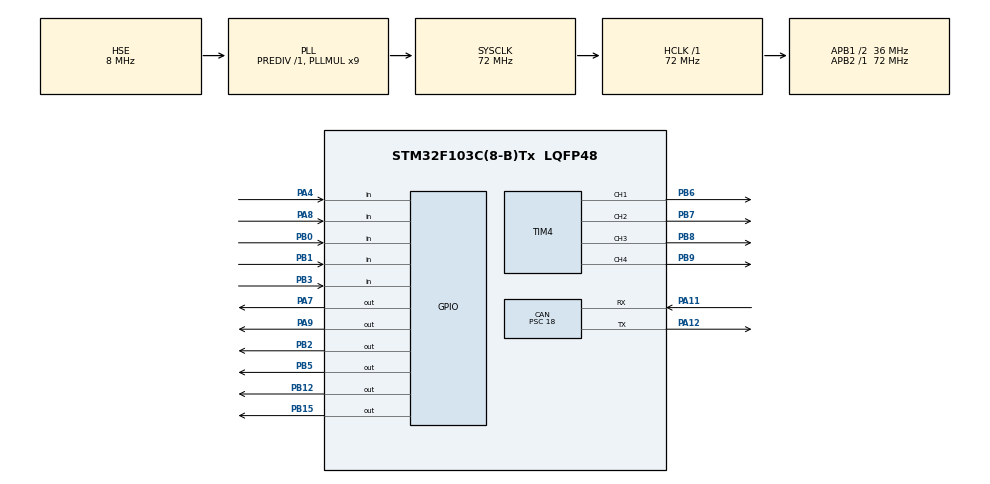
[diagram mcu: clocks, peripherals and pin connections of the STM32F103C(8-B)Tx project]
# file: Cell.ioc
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CAN.ABOM=ENABLE
CAN.AWUM=ENABLE
CAN.BS1=CAN_BS1_13TQ
CAN.BS2=CAN_BS2_2TQ
CAN.CalculateTimeBit=1500
CAN.CalculateTimeQuantum=500.0
CAN.NART=ENABLE
CAN.Prescaler=18
FREERTOS.INCLUDE_vTaskDelayUntil=1
FREERTOS.Tasks01=defaultTask,0,128,StartDefaultTask,Default,NULL
Mcu.Family=STM32F1
Mcu.Name=STM32F103C(8-B)Tx
Mcu.Package=LQFP48
Mcu.UserConstants=PWM_FREQUENCY,10000
NVIC.CAN1_RX1_IRQn=true\:5\:0\:false\:false\:true\:true\:true
NVIC.CAN1_SCE_IRQn=true\:5\:0\:false\:false\:true\:true\:true
NVIC.PriorityGroup=NVIC_PRIORITYGROUP_4
NVIC.TIM2_IRQn=true\:0\:0\:false\:false\:true\:false\:false
NVIC.TimeBase=TIM2_IRQn
NVIC.TimeBaseIP=TIM2
NVIC.USB_HP_CAN1_TX_IRQn=true\:5\:0\:false\:false\:true\:true\:true
NVIC.USB_LP_CAN1_RX0_IRQn=true\:5\:0\:false\:false\:true\:true\:true
PA11.Mode=Master
PA11.Signal=CAN_RX
PA12.Mode=Master
PA12.Signal=CAN_TX
PA13.Mode=Serial_Wire
PA13.Signal=SYS_JTMS-SWDIO
PA14.Mode=Serial_Wire
PA14.Signal=SYS_JTCK-SWCLK
PA4.GPIO_PuPd=GPIO_PULLUP
PA4.Signal=GPIO_Input
PA7.GPIO_PuPd=GPIO_PULLDOWN
PA7.Signal=GPIO_Output
PA8.GPIO_PuPd=GPIO_PULLDOWN
PA8.Signal=GPIO_Input
PA9.GPIO_PuPd=GPIO_PULLDOWN
PA9.Signal=GPIO_Output
PB0.GPIO_PuPd=GPIO_PULLUP
PB0.Signal=GPIO_Input
PB1.GPIO_PuPd=GPIO_PULLUP
PB1.Signal=GPIO_Input
PB12.GPIO_PuPd=GPIO_PULLDOWN
PB12.Signal=GPIO_Output
PB15.GPIO_PuPd=GPIO_PULLDOWN
PB15.Signal=GPIO_Output
PB2.GPIO_PuPd=GPIO_PULLDOWN
PB2.Signal=GPIO_Output
PB3.GPIO_PuPd=GPIO_PULLUP
PB3.Signal=GPIO_Input
PB5.GPIO_PuPd=GPIO_PULLDOWN
PB5.Signal=GPIO_Output
PB6.Signal=S_TIM4_CH1
PB7.Signal=S_TIM4_CH2
PB8.Signal=S_TIM4_CH3
PB9.Signal=S_TIM4_CH4
PD0-OSC_IN.Mode=HSE-External-Oscillator
PD0-OSC_IN.Signal=RCC_OSC_IN
PD1-OSC_OUT.Mode=HSE-External-Oscillator
PD1-OSC_OUT.Signal=RCC_OSC_OUT
ProjectManager.HeapSize=0x200
ProjectManager.StackSize=0x400
ProjectManager.TargetToolchain=EWARM
RCC.ADCPresc=RCC_ADCPCLK2_DIV6
RCC.AHBFreq_Value=72000000
RCC.APB1CLKDivider=RCC_HCLK_DIV2
RCC.APB1Freq_Value=36000000
RCC.APB1TimFreq_Value=72000000
RCC.APB2Freq_Value=72000000
RCC.APB2TimFreq_Value=72000000
RCC.HCLKFreq_Value=72000000
RCC.PLLMUL=RCC_PLL_MUL9
RCC.PLLSourceVirtual=RCC_PLLSOURCE_HSE
RCC.SYSCLKFreq_VALUE=72000000
RCC.SYSCLKSource=RCC_SYSCLKSOURCE_PLLCLK
RCC.USBFreq_Value=72000000
SH.S_TIM4_CH1.0=TIM4_CH1,PWM Generation1 CH1
SH.S_TIM4_CH2.0=TIM4_CH2,PWM Generation2 CH2
SH.S_TIM4_CH3.0=TIM4_CH3,PWM Generation3 CH3
SH.S_TIM4_CH4.0=TIM4_CH4,PWM Generation4 CH4
TIM4.Channel-PWM\ Generation1\ CH1=TIM_CHANNEL_1
TIM4.Channel-PWM\ Generation2\ CH2=TIM_CHANNEL_2
TIM4.Channel-PWM\ Generation3\ CH3=TIM_CHANNEL_3
TIM4.Channel-PWM\ Generation4\ CH4=TIM_CHANNEL_4
TIM4.Period=72000000/PWM_FREQUENCY-1
VP_FREERTOS_VS_ENABLE.Mode=Enabled
VP_SYS_VS_tim2.Mode=TIM2
board=custom

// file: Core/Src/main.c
/**
  ******************************************************************************
  * @file           : main.c
  * @brief          : Main program body
  ******************************************************************************
  * This notice applies to any and all portions of this file
  * that are not between comment pairs USER CODE BEGIN and
  * USER CODE END. Other portions of this file, whether
  * inserted by the user or by software development tools
  * are owned by their respective copyright owners.
  *
  * Copyright (c) 2018 STMicroelectronics International N.V.
  * All rights reserved.
  *
  * Redistribution and use in source and binary forms, with or without
  * modification, are permitted, provided that the following conditions are met:
  *
  * 1. Redistribution of source code must retain the above copyright notice,
  *    this list of conditions and the following disclaimer.
  * 2. Redistributions in binary form must reproduce the above copyright notice,
  *    this list of conditions and the following disclaimer in the documentation
  *    and/or other materials provided with the distribution.
  * 3. Neither the name of STMicroelectronics nor the names of other
  *    contributors to this software may be used to endorse or promote products
  *    derived from this software without specific written permission.
  * 4. This software, including modifications and/or derivative works of this
  *    software, must execute solely and exclusively on microcontroller or
  *    microprocessor devices manufactured by or for STMicroelectronics.
  * 5. Redistribution and use of this software other than as permitted under
  *    this license is void and will automatically terminate your rights under
  *    this license.
  *
  * THIS SOFTWARE IS PROVIDED BY STMICROELECTRONICS AND CONTRIBUTORS "AS IS"
  * AND ANY EXPRESS, IMPLIED OR STATUTORY WARRANTIES, INCLUDING, BUT NOT
  * LIMITED TO, THE IMPLIED WARRANTIES OF MERCHANTABILITY, FITNESS FOR A
  * PARTICULAR PURPOSE AND NON-INFRINGEMENT OF THIRD PARTY INTELLECTUAL PROPERTY
  * RIGHTS ARE DISCLAIMED TO THE FULLEST EXTENT PERMITTED BY LAW. IN NO EVENT
  * SHALL STMICROELECTRONICS OR CONTRIBUTORS BE LIABLE FOR ANY DIRECT, INDIRECT,
  * INCIDENTAL, SPECIAL, EXEMPLARY, OR CONSEQUENTIAL DAMAGES (INCLUDING, BUT NOT
  * LIMITED TO, PROCUREMENT OF SUBSTITUTE GOODS OR SERVICES; LOSS OF USE, DATA,
  * OR PROFITS; OR BUSINESS INTERRUPTION) HOWEVER CAUSED AND ON ANY THEORY OF
  * LIABILITY, WHETHER IN CONTRACT, STRICT LIABILITY, OR TORT (INCLUDING
  * NEGLIGENCE OR OTHERWISE) ARISING IN ANY WAY OUT OF THE USE OF THIS SOFTWARE,
  * EVEN IF ADVISED OF THE POSSIBILITY OF SUCH DAMAGE.
  *
  ******************************************************************************
  */
#include "main.h"
#include "stm32f1xx_hal.h"
#include "cmsis_os.h"

/* USER CODE BEGIN Includes */
#include "cell.h"
#include "test.h"
/* USER CODE END Includes */

CAN_HandleTypeDef hcan;

TIM_HandleTypeDef htim4;

osThreadId defaultTaskHandle;

/* USER CODE BEGIN PV */
/* Private variables ---------------------------------------------------------*/
osThreadId PeriodicityTaskHandle;
/* USER CODE END PV */

void SystemClock_Config(void);
static void MX_GPIO_Init(void);
static void MX_TIM4_Init(void);
static void MX_CAN_Init(void);
void StartDefaultTask(void const * argument);

void HAL_TIM_MspPostInit(TIM_HandleTypeDef *htim);

/* USER CODE BEGIN PFP */
/* Private function prototypes -----------------------------------------------*/
static void CAN_Filter_Init(void);
void PeriodicityTask(void const * argument);
/* USER CODE END PFP */

int main(void)
{

  /* MCU Configuration----------------------------------------------------------*/

  /* Reset of all peripherals, Initializes the Flash interface and the Systick. */
  HAL_Init();

  /* Configure the system clock */
  SystemClock_Config();

  /* Initialize all configured peripherals */
  MX_GPIO_Init();
  MX_TIM4_Init();
  MX_CAN_Init();
  /* USER CODE BEGIN 2 */
  HAL_TIM_PWM_Start(&htim4,TIM_CHANNEL_1);
	HAL_TIM_PWM_Start(&htim4,TIM_CHANNEL_2);
	HAL_TIM_PWM_Start(&htim4,TIM_CHANNEL_3);
	HAL_TIM_PWM_Start(&htim4,TIM_CHANNEL_4);
  SetDuty(&htim4,TIM_CHANNEL_1,0);
  SetDuty(&htim4,TIM_CHANNEL_2,0);
  SetDuty(&htim4,TIM_CHANNEL_3,0);
  SetDuty(&htim4,TIM_CHANNEL_4,0);
  CAN_Filter_Init();
  Cell_Init(&hcan);
  HAL_CAN_Receive_IT(&hcan, CAN_FIFO0);
  /* USER CODE END 2 */

  /* Create the thread(s) */
  /* definition and creation of defaultTask */
  osThreadDef(defaultTask, StartDefaultTask, osPriorityNormal, 0, 128);
  defaultTaskHandle = osThreadCreate(osThread(defaultTask), NULL);

  /* USER CODE BEGIN RTOS_THREADS */
  /* add threads, ... */
  osThreadDef(task1, PeriodicityTask, osPriorityRealtime, 0, 256);
  PeriodicityTaskHandle = osThreadCreate(osThread(task1), NULL);
  /* USER CODE END RTOS_THREADS */

  /* Start scheduler */
  osKernelStart();

  /* We should never get here as control is now taken by the scheduler */

  /* Infinite loop */
  while (1)
  {

  }

}

void SystemClock_Config(void)
{

  RCC_OscInitTypeDef RCC_OscInitStruct;
  RCC_ClkInitTypeDef RCC_ClkInitStruct;

    /**Initializes the CPU, AHB and APB busses clocks
    */
  RCC_OscInitStruct.OscillatorType = RCC_OSCILLATORTYPE_HSE;
  RCC_OscInitStruct.HSEState = RCC_HSE_ON;
  RCC_OscInitStruct.HSEPredivValue = RCC_HSE_PREDIV_DIV1;
  RCC_OscInitStruct.HSIState = RCC_HSI_ON;
  RCC_OscInitStruct.PLL.PLLState = RCC_PLL_ON;
  RCC_OscInitStruct.PLL.PLLSource = RCC_PLLSOURCE_HSE;
  RCC_OscInitStruct.PLL.PLLMUL = RCC_PLL_MUL9;
  if (HAL_RCC_OscConfig(&RCC_OscInitStruct) != HAL_OK)
  {
    _Error_Handler(__FILE__, __LINE__);
  }

    /**Initializes the CPU, AHB and APB busses clocks
    */
  RCC_ClkInitStruct.ClockType = RCC_CLOCKTYPE_HCLK|RCC_CLOCKTYPE_SYSCLK
                              |RCC_CLOCKTYPE_PCLK1|RCC_CLOCKTYPE_PCLK2;
  RCC_ClkInitStruct.SYSCLKSource = RCC_SYSCLKSOURCE_PLLCLK;
  RCC_ClkInitStruct.AHBCLKDivider = RCC_SYSCLK_DIV1;
  RCC_ClkInitStruct.APB1CLKDivider = RCC_HCLK_DIV2;
  RCC_ClkInitStruct.APB2CLKDivider = RCC_HCLK_DIV1;

  if (HAL_RCC_ClockConfig(&RCC_ClkInitStruct, FLASH_LATENCY_2) != HAL_OK)
  {
    _Error_Handler(__FILE__, __LINE__);
  }

    /**Configure the Systick interrupt time
    */
  HAL_SYSTICK_Config(HAL_RCC_GetHCLKFreq()/1000);

    /**Configure the Systick
    */
  HAL_SYSTICK_CLKSourceConfig(SYSTICK_CLKSOURCE_HCLK);

  /* SysTick_IRQn interrupt configuration */
  HAL_NVIC_SetPriority(SysTick_IRQn, 15, 0);
}

/* CAN init function */
static void MX_CAN_Init(void)
{

  hcan.Instance = CAN1;
  hcan.Init.Prescaler = 18;
  hcan.Init.Mode = CAN_MODE_NORMAL;
  hcan.Init.SJW = CAN_SJW_1TQ;
  hcan.Init.BS1 = CAN_BS1_13TQ;
  hcan.Init.BS2 = CAN_BS2_2TQ;
  hcan.Init.TTCM = DISABLE;
  hcan.Init.ABOM = ENABLE;
  hcan.Init.AWUM = ENABLE;
  hcan.Init.NART = ENABLE;
  hcan.Init.RFLM = DISABLE;
  hcan.Init.TXFP = DISABLE;
  if (HAL_CAN_Init(&hcan) != HAL_OK)
  {
    _Error_Handler(__FILE__, __LINE__);
  }

}

/* TIM4 init function */
static void MX_TIM4_Init(void)
{

  TIM_MasterConfigTypeDef sMasterConfig;
  TIM_OC_InitTypeDef sConfigOC;

  htim4.Instance = TIM4;
  htim4.Init.Prescaler = 0;
  htim4.Init.CounterMode = TIM_COUNTERMODE_UP;
  htim4.Init.Period = 72000000/PWM_FREQUENCY-1;
  htim4.Init.ClockDivision = TIM_CLOCKDIVISION_DIV1;
  htim4.Init.AutoReloadPreload = TIM_AUTORELOAD_PRELOAD_DISABLE;
  if (HAL_TIM_PWM_Init(&htim4) != HAL_OK)
  {
    _Error_Handler(__FILE__, __LINE__);
  }

  sMasterConfig.MasterOutputTrigger = TIM_TRGO_RESET;
  sMasterConfig.MasterSlaveMode = TIM_MASTERSLAVEMODE_DISABLE;
  if (HAL_TIMEx_MasterConfigSynchronization(&htim4, &sMasterConfig) != HAL_OK)
  {
    _Error_Handler(__FILE__, __LINE__);
  }

  sConfigOC.OCMode = TIM_OCMODE_PWM1;
  sConfigOC.Pulse = 0;
  sConfigOC.OCPolarity = TIM_OCPOLARITY_HIGH;
  sConfigOC.OCFastMode = TIM_OCFAST_DISABLE;
  if (HAL_TIM_PWM_ConfigChannel(&htim4, &sConfigOC, TIM_CHANNEL_1) != HAL_OK)
  {
    _Error_Handler(__FILE__, __LINE__);
  }

  if (HAL_TIM_PWM_ConfigChannel(&htim4, &sConfigOC, TIM_CHANNEL_2) != HAL_OK)
  {
    _Error_Handler(__FILE__, __LINE__);
  }

  if (HAL_TIM_PWM_ConfigChannel(&htim4, &sConfigOC, TIM_CHANNEL_3) != HAL_OK)
  {
    _Error_Handler(__FILE__, __LINE__);
  }

  if (HAL_TIM_PWM_ConfigChannel(&htim4, &sConfigOC, TIM_CHANNEL_4) != HAL_OK)
  {
    _Error_Handler(__FILE__, __LINE__);
  }

  HAL_TIM_MspPostInit(&htim4);

}

/** Configure pins as
        * Analog
        * Input
        * Output
        * EVENT_OUT
        * EXTI
*/
static void MX_GPIO_Init(void)
{

  GPIO_InitTypeDef GPIO_InitStruct;

  /* GPIO Ports Clock Enable */
  __HAL_RCC_GPIOD_CLK_ENABLE();
  __HAL_RCC_GPIOA_CLK_ENABLE();
  __HAL_RCC_GPIOB_CLK_ENABLE();

  /*Configure GPIO pin Output Level */
  HAL_GPIO_WritePin(GPIOA, GPIO_PIN_7|GPIO_PIN_9, GPIO_PIN_RESET);

  /*Configure GPIO pin Output Level */
  HAL_GPIO_WritePin(GPIOB, GPIO_PIN_2|GPIO_PIN_12|GPIO_PIN_15|GPIO_PIN_5, GPIO_PIN_RESET);

  /*Configure GPIO pin : PA4 */
  GPIO_InitStruct.Pin = GPIO_PIN_4;
  GPIO_InitStruct.Mode = GPIO_MODE_INPUT;
  GPIO_InitStruct.Pull = GPIO_PULLUP;
  HAL_GPIO_Init(GPIOA, &GPIO_InitStruct);

  /*Configure GPIO pins : PA7 PA9 */
  GPIO_InitStruct.Pin = GPIO_PIN_7|GPIO_PIN_9;
  GPIO_InitStruct.Mode = GPIO_MODE_OUTPUT_PP;
  GPIO_InitStruct.Pull = GPIO_PULLDOWN;
  GPIO_InitStruct.Speed = GPIO_SPEED_FREQ_LOW;
  HAL_GPIO_Init(GPIOA, &GPIO_InitStruct);

  /*Configure GPIO pins : PB0 PB1 PB3 */
  GPIO_InitStruct.Pin = GPIO_PIN_0|GPIO_PIN_1|GPIO_PIN_3;
  GPIO_InitStruct.Mode = GPIO_MODE_INPUT;
  GPIO_InitStruct.Pull = GPIO_PULLUP;
  HAL_GPIO_Init(GPIOB, &GPIO_InitStruct);

  /*Configure GPIO pins : PB2 PB12 PB15 PB5 */
  GPIO_InitStruct.Pin = GPIO_PIN_2|GPIO_PIN_12|GPIO_PIN_15|GPIO_PIN_5;
  GPIO_InitStruct.Mode = GPIO_MODE_OUTPUT_PP;
  GPIO_InitStruct.Pull = GPIO_PULLDOWN;
  GPIO_InitStruct.Speed = GPIO_SPEED_FREQ_LOW;
  HAL_GPIO_Init(GPIOB, &GPIO_InitStruct);

  /*Configure GPIO pin : PA8 */
  GPIO_InitStruct.Pin = GPIO_PIN_8;
  GPIO_InitStruct.Mode = GPIO_MODE_INPUT;
  GPIO_InitStruct.Pull = GPIO_PULLDOWN;
  HAL_GPIO_Init(GPIOA, &GPIO_InitStruct);

}

/* USER CODE BEGIN 4 */
CanTxMsgTypeDef txmsg;
CanRxMsgTypeDef rxmsg;
static void CAN_Filter_Init(void)
{
  hcan.pTxMsg = &txmsg;
  hcan.pTxMsg->ExtId = 10;
  hcan.pTxMsg->DLC = 8;
  hcan.pTxMsg->IDE = CAN_ID_EXT;
  hcan.pTxMsg->RTR = CAN_RTR_DATA;

  hcan.pRxMsg = &rxmsg;
  hcan.pRxMsg->ExtId = 10;
  hcan.pRxMsg->DLC = 8;
  hcan.pRxMsg->IDE = CAN_ID_EXT;
  hcan.pRxMsg->RTR = CAN_RTR_DATA;

  CAN_FilterConfTypeDef  sFilterConfig;
  //定义一组扩展CAN ID用来测试
  uint32_t ExtIdArray[8] ={0,1,2,3,4,5,6,7};
  uint32_t mask,num,tmp,i;

  sFilterConfig.FilterNumber = 3; //使用过滤器3
  sFilterConfig.FilterMode = CAN_FILTERMODE_IDMASK; //配置为掩码模式
  sFilterConfig.FilterScale = CAN_FILTERSCALE_32BIT; //设为32位宽
  sFilterConfig.FilterIdHigh = ((ExtIdArray[0]<<3) >>16) &0xFFFF;//数组任意一个成员都可以作为验证码
  sFilterConfig.FilterIdLow = ((ExtIdArray[0]<<3)&0xFFFF) | CAN_ID_EXT;

  mask =0x1FFFFFFF;
  num =sizeof(ExtIdArray)/sizeof(ExtIdArray[0]);
  for(i =0; i<num; i++) //屏蔽码位数组各成员相互同或的结果
  {
    tmp =ExtIdArray[i] ^ (~ExtIdArray[0]); //都与第一个数据成员进行同或操作
    mask &=tmp;
  }
  mask <<=3; //对齐寄存器
  sFilterConfig.FilterMaskIdHigh = (mask>>16)&0xFFFF;
  sFilterConfig.FilterMaskIdLow = (mask&0xFFFF)|0x02; //只接收数据帧
  sFilterConfig.FilterFIFOAssignment = 0;
  sFilterConfig.FilterActivation = ENABLE;
  sFilterConfig.BankNumber = 14;

  HAL_CAN_ConfigFilter(&hcan, &sFilterConfig);

  return;
}

void PeriodicityTask(void const * argument)
{
    static TickType_t xLastWakeTime;
    const TickType_t xTimeIncrement = pdMS_TO_TICKS(1);

    xLastWakeTime = xTaskGetTickCount();
    for(;;)
    {
        vTaskDelayUntil(&xLastWakeTime,xTimeIncrement);

        SwitchScan();
        //osDelay(1);
    }
}

/* USER CODE END 4 */

/* StartDefaultTask function */
void StartDefaultTask(void const * argument)
{

  /* USER CODE BEGIN 5 */
  /* Infinite loop */
  //osDelay(50);
  //CellReset();
  for(;;)
  {
    RepuestIdAndAddr(&hcan);
    Deliver(&hcan);
    TestBreak();
  }
  /* USER CODE END 5 */
}

void HAL_TIM_PeriodElapsedCallback(TIM_HandleTypeDef *htim)
{
  if (htim->Instance == TIM2) {
    HAL_IncTick();
  }
}

void _Error_Handler(char *file, int line)
{
  while(1)
  {
  }
}

/************************ (C) COPYRIGHT STMicroelectronics *****END OF FILE****/
